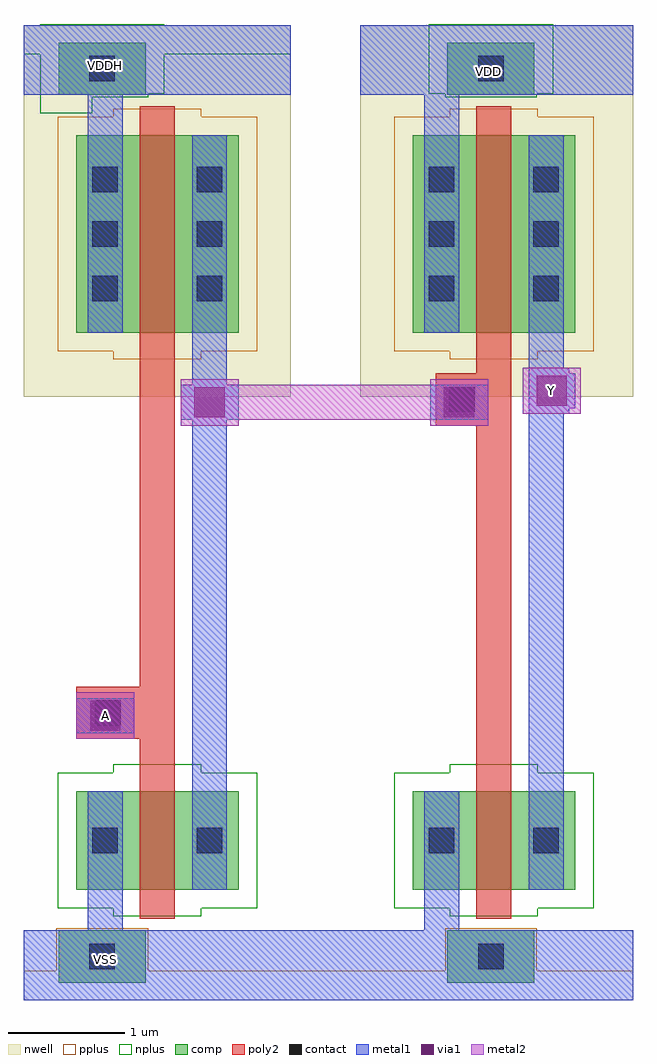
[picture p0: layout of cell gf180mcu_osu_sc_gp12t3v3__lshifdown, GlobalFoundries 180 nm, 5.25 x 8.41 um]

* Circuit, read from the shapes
.subckt gf180mcu_osu_sc_gp12t3v3__lshifdown A VDD VDDH VSS Y
XM1 n1 A VSS VSS nfet_03v3 w=0.85u l=0.3u
XM2 Y n1 VSS VSS nfet_03v3 w=0.85u l=0.3u
XM3 n1 A VDDH VDDH pfet_03v3 w=1.7u l=0.3u
XM4 Y n1 VDD VDD pfet_03v3 w=1.7u l=0.3u
.ends

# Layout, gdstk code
import gdstk
lib = gdstk.Library(unit=1e-6, precision=1e-09)
def R(c, l, rs):  # rectangles x0, y0, x1, y1
    for r in rs: c.add(gdstk.rectangle(r[:2], r[2:], *l))
def A(c, l, x, y, w, h, nx, ny, dx, dy):  # array of equal rectangles
    R(c, l, [(x+i*dx, y+j*dy, x+i*dx+w, y+j*dy+h) for i in range(nx) for j in range(ny)])
nwell = (21, 0)
comp = (22, 0)
poly2 = (30, 0)
pplus = (31, 0)
nplus = (32, 0)
contact = (33, 0)
metal1 = (34, 0)
via1 = (35, 0)
metal2 = (36, 0)

gf180mcu_osu_sc_gp12t3v3 = lib.new_cell('gf180mcu_osu_sc_gp12t3v3__lshifdown')
R(gf180mcu_osu_sc_gp12t3v3, nwell, [(0,5.2,2.3,8.4), (2.9,5.2,5.25,8.4)])
R(gf180mcu_osu_sc_gp12t3v3, comp, [(0.3,0.15,1.05,0.6), (3.65,0.15,4.4,0.6), (0.45,0.95,1.85,1.8), (3.35,0.95,4.75,1.8), (0.45,5.75,1.85,7.45), (3.35,5.75,4.75,7.45), (0.3,7.8,1.05,8.25), (3.65,7.8,4.4,8.25)])
R(gf180mcu_osu_sc_gp12t3v3, poly2, [(1,0.7,1.3,2.25), (3.9,0.7,4.2,4.95), (0.45,2.25,1.3,2.7), (1,2.7,1.3,7.7), (3.55,4.95,4.2,5.4), (3.9,5.4,4.2,7.7)])
R(gf180mcu_osu_sc_gp12t3v3, pplus, [(0,0,5.25,0.25), (0.28,0.13,1.07,0.62), (3.63,0.13,4.42,0.62), (0.77,5.52,1.53,5.59), (3.67,5.52,4.43,5.59), (0.29,5.59,2.01,7.61), (3.19,5.59,4.91,7.61), (0.77,7.61,1.53,7.68), (3.67,7.61,4.43,7.68)])
R(gf180mcu_osu_sc_gp12t3v3, nplus, [(0.77,0.72,1.53,0.79), (3.67,0.72,4.43,0.79), (0.29,0.79,2.01,1.96), (3.19,0.79,4.91,1.96), (0.77,1.96,1.53,2.03), (3.67,1.96,4.43,2.03), (0.14,7.64,0.59,7.78), (0.14,7.78,1.07,7.81), (3.63,7.78,4.42,7.81), (0.14,7.81,1.21,8.15), (3.49,7.81,4.56,8.41), (0,8.15,2.3,8.4), (0,8.15,2.3,8.4), (0.14,8.4,1.21,8.41)])
A(gf180mcu_osu_sc_gp12t3v3, contact, 0.59, 6.02, 0.22, 0.22, 1, 3, 0, 0.47)
A(gf180mcu_osu_sc_gp12t3v3, contact, 1.49, 6.02, 0.22, 0.22, 1, 3, 0, 0.47)
A(gf180mcu_osu_sc_gp12t3v3, contact, 3.49, 6.02, 0.22, 0.22, 1, 3, 0, 0.47)
A(gf180mcu_osu_sc_gp12t3v3, contact, 4.39, 6.02, 0.22, 0.22, 1, 3, 0, 0.47)
R(gf180mcu_osu_sc_gp12t3v3, contact, [(0.565,0.265,0.785,0.485), (3.915,0.265,4.135,0.485), (0.59,1.265,0.81,1.485), (1.49,1.265,1.71,1.485), (3.49,1.265,3.71,1.485), (4.39,1.265,4.61,1.485), (0.615,2.365,0.835,2.585), (3.665,5.065,3.885,5.285), (0.565,7.915,0.785,8.135), (3.915,7.915,4.135,8.135)])
R(gf180mcu_osu_sc_gp12t3v3, metal1, [(0,0,5.25,0.6), (0.55,0.6,0.85,1.8), (3.45,0.6,3.75,1.8), (1.45,0.95,1.75,5), (4.35,0.95,4.65,5.05), (0.45,2.3,0.95,2.6), (1.35,5,1.85,5.3), (3.5,5,4,5.3), (4.35,5.05,4.7,5.1), (4.35,5.1,4.75,5.4), (1.45,5.3,1.75,7.45), (4.35,5.4,4.7,5.45), (4.35,5.45,4.65,7.45), (0.55,5.75,0.85,7.8), (3.45,5.75,3.75,7.8), (0,7.8,2.3,8.4), (2.9,7.8,5.25,8.4)])
R(gf180mcu_osu_sc_gp12t3v3, via1, [(0.57,2.32,0.83,2.58), (1.47,5.02,1.73,5.28), (3.62,5.02,3.88,5.28), (4.42,5.12,4.68,5.38)])
R(gf180mcu_osu_sc_gp12t3v3, metal2, [(0.45,2.25,0.95,2.65), (1.35,4.95,1.85,5), (3.5,4.95,4,5), (1.35,5,4,5.3), (4.3,5.05,4.8,5.45), (1.35,5.3,1.85,5.35), (3.5,5.3,4,5.35)])
gf180mcu_osu_sc_gp12t3v3.add(gdstk.Label('A', (0.7,2.45), layer=36, texttype=10))
gf180mcu_osu_sc_gp12t3v3.add(gdstk.Label('Y', (4.55,5.25), layer=36, texttype=10))
gf180mcu_osu_sc_gp12t3v3.add(gdstk.Label('VDDH', (0.7,8.05), layer=34, texttype=10))
gf180mcu_osu_sc_gp12t3v3.add(gdstk.Label('VDD', (4,8), layer=34, texttype=10))
gf180mcu_osu_sc_gp12t3v3.add(gdstk.Label('VSS', (0.7,0.35), layer=34, texttype=10))

lib.write_gds('gf180mcu_osu_sc_gp12t3v3__lshifdown.gds')
